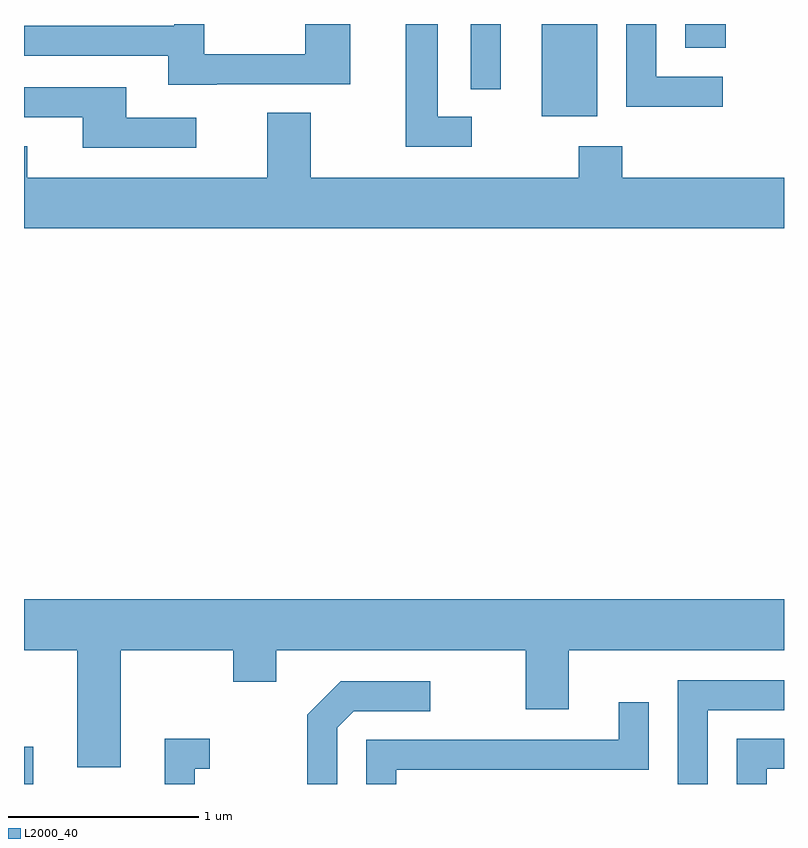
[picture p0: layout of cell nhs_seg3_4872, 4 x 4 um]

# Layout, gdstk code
import gdstk
lib = gdstk.Library(unit=1e-6, precision=1e-09)
def R(c, l, rs):  # rectangles x0, y0, x1, y1
    for r in rs: c.add(gdstk.rectangle(r[:2], r[2:], *l))
def P(c, l, *ps):  # polygons
    for p in ps: c.add(gdstk.Polygon(p, *l))
L2000_40 = (2000, 40)

nhs_seg3_4872 = lib.new_cell('nhs_seg3_4872')
R(nhs_seg3_4872, L2000_40, [(327.611,1211.892,327.659,1212.089), (330.336,1215.406,330.629,1215.892), (329.961,1215.548,330.119,1215.892), (331.091,1215.766,331.304,1215.892)])
P(nhs_seg3_4872, L2000_40, [(331.288,1215.614),(330.939,1215.614),(330.939,1215.892),(330.781,1215.892),(330.781,1215.456),(331.288,1215.456)],
  [(329.968,1215.404),(329.789,1215.404),(329.789,1215.892),(329.621,1215.892),(329.621,1215.246),(329.968,1215.246)],
  [(328.625,1215.576),(329.329,1215.576),(329.329,1215.892),(329.091,1215.892),(329.091,1215.734),(328.559,1215.734),(328.559,1215.892),(328.401,1215.892),(328.401,1215.884),(327.611,1215.884),(327.611,1215.726),(328.371,1215.726),(328.371,1215.571),(328.625,1215.571)],
  [(328.518,1215.399),(328.149,1215.399),(328.149,1215.559),(327.611,1215.559),(327.611,1215.401),(327.921,1215.401),(327.921,1215.241),(328.518,1215.241)],
  [(331.611,1215.084),(330.759,1215.084),(330.759,1215.249),(330.531,1215.249),(330.531,1215.084),(329.119,1215.084),(329.119,1215.424),(328.891,1215.424),(328.891,1215.084),(327.629,1215.084),(327.629,1215.249),(327.611,1215.249),(327.611,1214.816),(331.611,1214.816)],
  [(328.119,1212.596),(328.711,1212.596),(328.711,1212.431),(328.939,1212.431),(328.939,1212.596),(330.251,1212.596),(330.251,1212.286),(330.479,1212.286),(330.479,1212.596),(331.611,1212.596),(331.611,1212.864),(327.611,1212.864),(327.611,1212.596),(327.891,1212.596),(327.891,1211.981),(328.119,1211.981)],
  [(331.209,1212.281),(331.611,1212.281),(331.611,1212.439),(331.051,1212.439),(331.051,1211.892),(331.209,1211.892)],
  [(329.259,1212.189),(329.347,1212.276),(329.748,1212.276),(329.748,1212.434),(329.279,1212.434),(329.101,1212.257),(329.101,1211.892),(329.259,1211.892)],
  [(329.569,1211.966),(330.899,1211.966),(330.899,1212.323),(330.741,1212.323),(330.741,1212.124),(329.411,1212.124),(329.411,1211.892),(329.569,1211.892)],
  [(331.519,1211.971),(331.611,1211.971),(331.611,1212.129),(331.361,1212.129),(331.361,1211.892),(331.519,1211.892)],
  [(328.509,1211.971),(328.588,1211.971),(328.588,1212.129),(328.351,1212.129),(328.351,1211.892),(328.509,1211.892)])

lib.write_gds('nhs_seg3_4872.gds')
